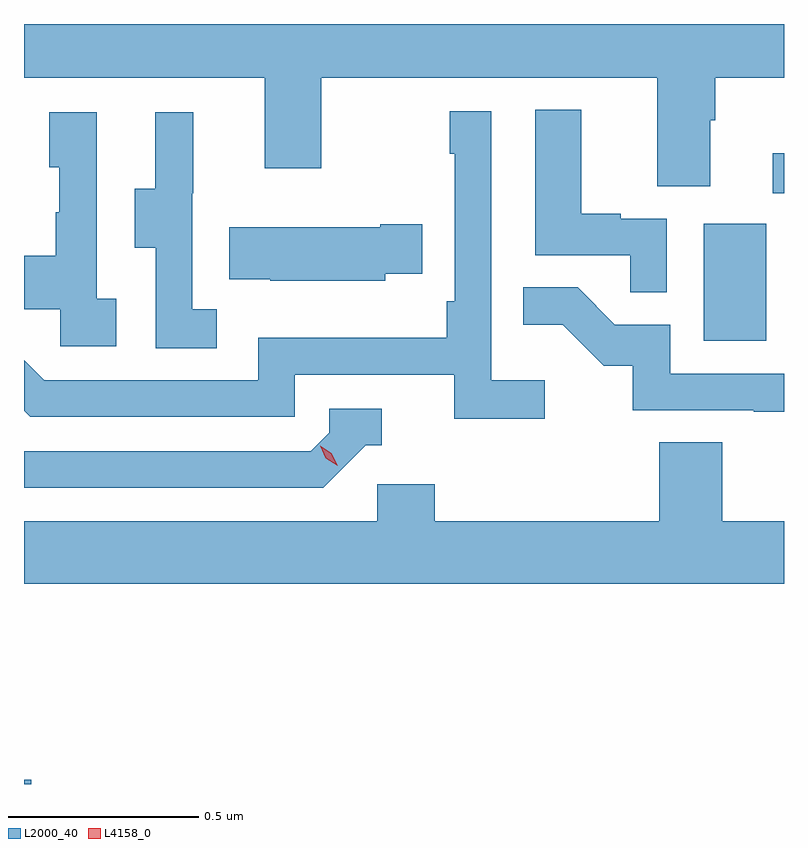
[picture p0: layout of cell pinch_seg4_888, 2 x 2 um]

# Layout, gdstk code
import gdstk
lib = gdstk.Library(unit=1e-6, precision=1e-09)
def R(c, l, rs):  # rectangles x0, y0, x1, y1
    for r in rs: c.add(gdstk.rectangle(r[:2], r[2:], *l))
def P(c, l, *ps):  # polygons
    for p in ps: c.add(gdstk.Polygon(p, *l))
L2000_40 = (2000, 40)
L4158_0 = (4158, 0)

pinch_seg4_888 = lib.new_cell('pinch_seg4_888')
R(pinch_seg4_888, L2000_40, [(854.215,804.285,854.234,804.296), (856.004,805.452,856.168,805.759), (856.185,805.839,856.215,805.945)])
P(pinch_seg4_888, L2000_40, [(856.021,806.032),(856.034,806.032),(856.034,806.144),(856.215,806.144),(856.215,806.285),(854.215,806.285),(854.215,806.144),(854.849,806.144),(854.849,805.905),(854.997,805.905),(854.997,806.144),(855.881,806.144),(855.881,805.858),(856.021,805.858)],
  [(855.906,805.773),(855.785,805.773),(855.785,805.786),(855.682,805.786),(855.682,806.059),(855.56,806.059),(855.56,805.677),(855.811,805.677),(855.811,805.579),(855.906,805.579)],
  [(855.586,805.348),(855.444,805.348),(855.444,806.056),(855.336,806.056),(855.336,805.943),(855.348,805.943),(855.348,805.555),(855.328,805.555),(855.328,805.459),(854.832,805.459),(854.832,805.347),(854.268,805.347),(854.215,805.4),(854.215,805.267),(854.231,805.251),(854.928,805.251),(854.928,805.362),(855.347,805.362),(855.347,805.246),(855.586,805.246)],
  [(854.458,805.562),(854.406,805.562),(854.406,806.053),(854.282,806.053),(854.282,805.908),(854.308,805.908),(854.308,805.79),(854.298,805.79),(854.298,805.675),(854.215,805.675),(854.215,805.535),(854.31,805.535),(854.31,805.437),(854.458,805.437)],
  [(854.722,805.535),(854.658,805.535),(854.658,805.839),(854.66,805.839),(854.66,806.053),(854.561,806.053),(854.561,805.851),(854.507,805.851),(854.507,805.696),(854.562,805.696),(854.562,805.432),(854.722,805.432)],
  [(855.165,805.628),(855.263,805.628),(855.263,805.758),(855.152,805.758),(855.152,805.75),(854.755,805.75),(854.755,805.613),(854.863,805.613),(854.863,805.61),(855.165,805.61)],
  [(856.215,805.365),(855.915,805.365),(855.915,805.494),(855.77,805.494),(855.672,805.592),(855.529,805.592),(855.529,805.493),(855.633,805.493),(855.74,805.386),(855.817,805.386),(855.817,805.269),(856.135,805.269),(856.135,805.264),(856.215,805.264)],
  [(855.114,805.176),(855.157,805.176),(855.157,805.272),(855.018,805.272),(855.018,805.209),(854.97,805.161),(854.215,805.161),(854.215,805.065),(855.003,805.065)],
  [(856.215,804.976),(856.052,804.976),(856.052,805.184),(855.887,805.184),(855.887,804.976),(855.296,804.976),(855.296,805.074),(855.144,805.074),(855.144,804.976),(854.215,804.976),(854.215,804.812),(856.215,804.812)])
P(pinch_seg4_888, L4158_0, [(855.04,805.122),(855.009,805.142),(854.994,805.175),(854.994,805.175),(854.994,805.175),(855.024,805.155),(855.04,805.122),(855.04,805.122)])

lib.write_gds('pinch_seg4_888.gds')
